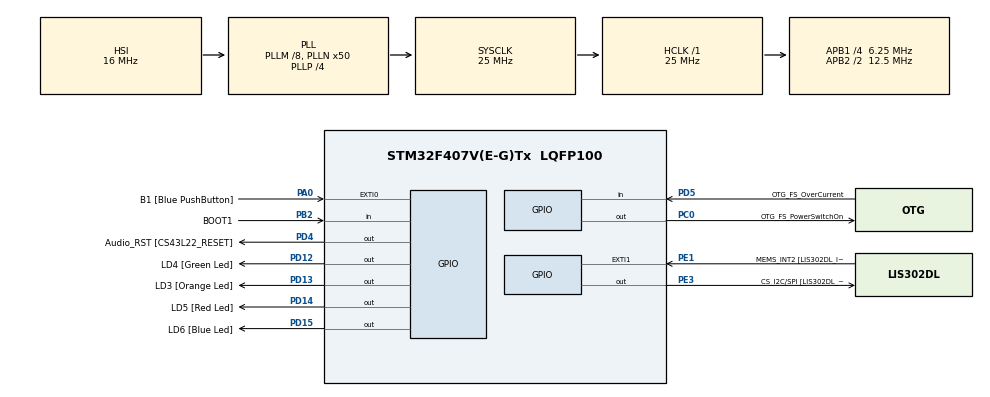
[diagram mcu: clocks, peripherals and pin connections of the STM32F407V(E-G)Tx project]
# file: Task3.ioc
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Mcu.Family=STM32F4
Mcu.Name=STM32F407V(E-G)Tx
Mcu.Package=LQFP100
NVIC.PriorityGroup=NVIC_PRIORITYGROUP_4
NVIC.TIM6_DAC_IRQn=true\:0\:0\:false\:false\:true\:false\:true
NVIC.TimeBase=TIM6_DAC_IRQn
NVIC.TimeBaseIP=TIM6
PA0-WKUP.GPIO_Label=B1 [Blue PushButton]
PA0-WKUP.Signal=GPXTI0
PA10.GPIO_Label=OTG_FS_ID
PA10.GPIO_Mode=GPIO_MODE_AF_PP
PA10.GPIO_PuPd=GPIO_NOPULL
PA10.GPIO_Speed=GPIO_SPEED_FREQ_LOW
PA10.Signal=USB_OTG_FS_ID
PA11.GPIO_Label=OTG_FS_DM
PA11.GPIO_Mode=GPIO_MODE_AF_PP
PA11.GPIO_PuPd=GPIO_NOPULL
PA11.GPIO_Speed=GPIO_SPEED_FREQ_LOW
PA11.Signal=USB_OTG_FS_DM
PA12.GPIO_Label=OTG_FS_DP
PA12.GPIO_Mode=GPIO_MODE_AF_PP
PA12.GPIO_PuPd=GPIO_NOPULL
PA12.GPIO_Speed=GPIO_SPEED_FREQ_LOW
PA12.Signal=USB_OTG_FS_DP
PA13.GPIO_Label=SWDIO
PA13.Signal=SYS_JTMS-SWDIO
PA14.GPIO_Label=SWCLK
PA14.Signal=SYS_JTCK-SWCLK
PA4.GPIO_Label=I2S3_WS [CS43L22_LRCK]
PA4.GPIO_Mode=GPIO_MODE_AF_PP
PA4.GPIO_PuPd=GPIO_NOPULL
PA4.GPIO_Speed=GPIO_SPEED_FREQ_LOW
PA4.Signal=I2S3_WS
PA5.GPIO_Label=SPI1_SCK [LIS302DL_SCL/SPC]
PA5.GPIO_Mode=GPIO_MODE_AF_PP
PA5.GPIO_PuPd=GPIO_NOPULL
PA5.GPIO_Speed=GPIO_SPEED_FREQ_LOW
PA5.Signal=SPI1_SCK
PA6.GPIO_Label=SPI1_MISO [LIS302DL_SDO]
PA6.GPIO_Mode=GPIO_MODE_AF_PP
PA6.GPIO_PuPd=GPIO_NOPULL
PA6.GPIO_Speed=GPIO_SPEED_FREQ_LOW
PA6.Signal=SPI1_MISO
PA7.GPIO_Label=SPI1_MOSI [LIS302DL_SDA/SDI/SDO]
PA7.GPIO_Mode=GPIO_MODE_AF_PP
PA7.GPIO_PuPd=GPIO_NOPULL
PA7.GPIO_Speed=GPIO_SPEED_FREQ_LOW
PA7.Signal=SPI1_MOSI
PA9.GPIO_Label=VBUS_FS
PA9.GPIO_Mode=GPIO_MODE_INPUT
PA9.GPIO_PuPd=GPIO_NOPULL
PA9.Signal=USB_OTG_FS_VBUS
PB10.GPIO_Label=CLK_IN [MP45DT02_CLK]
PB10.GPIO_Mode=GPIO_MODE_AF_PP
PB10.GPIO_PuPd=GPIO_NOPULL
PB10.GPIO_Speed=GPIO_SPEED_FREQ_LOW
PB10.Signal=I2S2_CK
PB2.GPIO_Label=BOOT1
PB2.GPIO_Mode=GPIO_MODE_INPUT
PB2.GPIO_PuPd=GPIO_NOPULL
PB2.Signal=GPIO_Input
PB3.GPIO_Label=SWO
PB3.Signal=SYS_JTDO-SWO
PB6.GPIO_Label=Audio_SCL [CS43L22_SCL]
PB6.GPIO_Mode=GPIO_MODE_AF_OD
PB6.GPIO_PuPd=GPIO_NOPULL
PB6.GPIO_Speed=GPIO_SPEED_FREQ_LOW
PB6.Signal=I2C1_SCL
PB9.GPIO_Label=Audio_SDA [CS43L22_SDA]
PB9.GPIO_Mode=GPIO_MODE_AF_OD
PB9.GPIO_PuPd=GPIO_NOPULL
PB9.GPIO_Speed=GPIO_SPEED_FREQ_LOW
PB9.Signal=I2C1_SDA
PC0.GPIO_Label=OTG_FS_PowerSwitchOn
PC0.GPIO_PuPd=GPIO_NOPULL
PC0.GPIO_Speed=GPIO_SPEED_FREQ_LOW
PC0.PinState=GPIO_PIN_SET
PC0.Signal=GPIO_Output
PC10.GPIO_Label=I2S3_SCK [CS43L22_SCLK]
PC10.GPIO_Mode=GPIO_MODE_AF_PP
PC10.GPIO_PuPd=GPIO_NOPULL
PC10.GPIO_Speed=GPIO_SPEED_FREQ_LOW
PC10.Signal=I2S3_CK
PC12.GPIO_Label=I2S3_SD [CS43L22_SDIN]
PC12.GPIO_Mode=GPIO_MODE_AF_PP
PC12.GPIO_PuPd=GPIO_NOPULL
PC12.GPIO_Speed=GPIO_SPEED_FREQ_LOW
PC12.Signal=I2S3_SD
PC14-OSC32_IN.GPIO_Label=PC14-OSC32_IN
PC14-OSC32_IN.Signal=RCC_OSC32_IN
PC15-OSC32_OUT.GPIO_Label=PC15-OSC32_OUT
PC15-OSC32_OUT.Signal=RCC_OSC32_OUT
PC3.GPIO_Label=PDM_OUT [MP45DT02_DOUT]
PC3.GPIO_Mode=GPIO_MODE_AF_PP
PC3.GPIO_PuPd=GPIO_NOPULL
PC3.GPIO_Speed=GPIO_SPEED_FREQ_LOW
PC3.Signal=I2S2_SD
PC7.GPIO_Label=I2S3_MCK [CS43L22_MCLK]
PC7.GPIO_Mode=GPIO_MODE_AF_PP
PC7.GPIO_PuPd=GPIO_NOPULL
PC7.GPIO_Speed=GPIO_SPEED_FREQ_LOW
PC7.Signal=I2S3_MCK
PD12.GPIO_Label=LD4 [Green Led]
PD12.GPIO_PuPd=GPIO_NOPULL
PD12.GPIO_Speed=GPIO_SPEED_FREQ_LOW
PD12.Signal=GPIO_Output
PD13.GPIO_Label=LD3 [Orange Led]
PD13.GPIO_PuPd=GPIO_NOPULL
PD13.GPIO_Speed=GPIO_SPEED_FREQ_LOW
PD13.Signal=GPIO_Output
PD14.GPIO_Label=LD5 [Red Led]
PD14.GPIO_PuPd=GPIO_NOPULL
PD14.GPIO_Speed=GPIO_SPEED_FREQ_LOW
PD14.Signal=GPIO_Output
PD15.GPIO_Label=LD6 [Blue Led]
PD15.GPIO_PuPd=GPIO_NOPULL
PD15.GPIO_Speed=GPIO_SPEED_FREQ_LOW
PD15.Signal=GPIO_Output
PD4.GPIO_Label=Audio_RST [CS43L22_RESET]
PD4.GPIO_PuPd=GPIO_NOPULL
PD4.GPIO_Speed=GPIO_SPEED_FREQ_LOW
PD4.Signal=GPIO_Output
PD5.GPIO_Label=OTG_FS_OverCurrent
PD5.GPIO_Mode=GPIO_MODE_INPUT
PD5.GPIO_PuPd=GPIO_NOPULL
PD5.Signal=GPIO_Input
PE1.GPIO_Label=MEMS_INT2 [LIS302DL_INT2]
PE1.GPIO_ModeDefaultEXTI=GPIO_MODE_EVT_RISING
PE1.GPIO_PuPd=GPIO_NOPULL
PE1.Signal=GPXTI1
PE3.GPIO_Label=CS_I2C/SPI [LIS302DL_CS_I2C/SPI]
PE3.GPIO_PuPd=GPIO_NOPULL
PE3.GPIO_Speed=GPIO_SPEED_FREQ_LOW
PE3.Signal=GPIO_Output
PH0-OSC_IN.GPIO_Label=PH0-OSC_IN
PH0-OSC_IN.Signal=RCC_OSC_IN
PH1-OSC_OUT.GPIO_Label=PH1-OSC_OUT
PH1-OSC_OUT.Signal=RCC_OSC_OUT
ProjectManager.HeapSize=0x200
ProjectManager.StackSize=0x400
ProjectManager.TargetToolchain=STM32CubeIDE
RCC.48MHZClocksFreq_Value=14285714.285714285
RCC.AHBFreq_Value=25000000
RCC.APB1CLKDivider=RCC_HCLK_DIV4
RCC.APB1Freq_Value=6250000
RCC.APB1TimFreq_Value=12500000
RCC.APB2CLKDivider=RCC_HCLK_DIV2
RCC.APB2Freq_Value=12500000
RCC.APB2TimFreq_Value=25000000
RCC.CortexFreq_Value=25000000
RCC.HCLKFreq_Value=25000000
RCC.HSE_VALUE=8000000
RCC.HSI_VALUE=16000000
RCC.LSE_VALUE=32768
RCC.PLLM=8
RCC.PLLN=50
RCC.PLLP=RCC_PLLP_DIV4
RCC.PLLQ=7
RCC.SYSCLKFreq_VALUE=25000000
RCC.SYSCLKSource=RCC_SYSCLKSOURCE_PLLCLK
RCC.VCOOutputFreq_Value=100000000
VP_SYS_VS_tim6.Mode=TIM6
board=STM32F407G-DISC1

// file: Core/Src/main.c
/* USER CODE BEGIN Header */
/**
  ******************************************************************************
  * @file           : main.c
  * @brief          : Main program body
  ******************************************************************************
  * @attention
  *
  * <h2><center>&copy; Copyright (c) 2025 STMicroelectronics.
  * All rights reserved.</center></h2>
  *
  * This software component is licensed by ST under BSD 3-Clause license,
  * the "License"; You may not use this file except in compliance with the
  * License. You may obtain a copy of the License at:
  *                        opensource.org/licenses/BSD-3-Clause
  *
  ******************************************************************************
  */
/* USER CODE END Header */
#include "main.h"

/* USER CODE BEGIN Includes */
#include "FreeRTOS.h"
#include "task.h"
/* USER CODE END Includes */

void SystemClock_Config(void);
static void MX_GPIO_Init(void);
/* USER CODE BEGIN PFP */
static void led_green_handler(void*);
static void led_orange_handler(void*);
static void led_red_handler(void*);
/* USER CODE END PFP */

int main(void)
{
  /* USER CODE BEGIN 1 */
	 BaseType_t status ;
	 TaskHandle_t task1_handle;
	 TaskHandle_t task2_handle;
	 TaskHandle_t task3_handle;
  /* USER CODE END 1 */

  /* MCU Configuration--------------------------------------------------------*/

  /* Reset of all peripherals, Initializes the Flash interface and the Systick. */
  HAL_Init();

  /* USER CODE BEGIN Init */

     /*Create 3 tasks*/

  /* USER CODE END Init */

  /* Configure the system clock */
  SystemClock_Config();

  /* Initialize all configured peripherals */
  MX_GPIO_Init();
  /* USER CODE BEGIN 2 */
  status = xTaskCreate(led_green_handler, "LED_green_task",200,NULL,2, &task1_handle);
        configASSERT(status == pdPASS);

       status = xTaskCreate(led_orange_handler, "LED_orange_task",200,NULL,2, &task2_handle);
       configASSERT(status == pdPASS);
       status = xTaskCreate(led_red_handler, "LED_red_task",200,NULL,2, &task3_handle);
       configASSERT(status == pdPASS);

     /*start the scheduler*/
       vTaskStartScheduler();

  /* USER CODE END 2 */

  /* Infinite loop */
  while (1)
  {

  }
}

void SystemClock_Config(void)
{
  RCC_OscInitTypeDef RCC_OscInitStruct = {0};
  RCC_ClkInitTypeDef RCC_ClkInitStruct = {0};

  /** Configure the main internal regulator output voltage
  */
  __HAL_RCC_PWR_CLK_ENABLE();
  __HAL_PWR_VOLTAGESCALING_CONFIG(PWR_REGULATOR_VOLTAGE_SCALE1);
  /** Initializes the RCC Oscillators according to the specified parameters
  * in the RCC_OscInitTypeDef structure.
  */
  RCC_OscInitStruct.OscillatorType = RCC_OSCILLATORTYPE_HSI;
  RCC_OscInitStruct.HSIState = RCC_HSI_ON;
  RCC_OscInitStruct.HSICalibrationValue = RCC_HSICALIBRATION_DEFAULT;
  RCC_OscInitStruct.PLL.PLLState = RCC_PLL_ON;
  RCC_OscInitStruct.PLL.PLLSource = RCC_PLLSOURCE_HSI;
  RCC_OscInitStruct.PLL.PLLM = 8;
  RCC_OscInitStruct.PLL.PLLN = 50;
  RCC_OscInitStruct.PLL.PLLP = RCC_PLLP_DIV4;
  RCC_OscInitStruct.PLL.PLLQ = 7;
  if (HAL_RCC_OscConfig(&RCC_OscInitStruct) != HAL_OK)
  {
    Error_Handler();
  }
  /** Initializes the CPU, AHB and APB buses clocks
  */
  RCC_ClkInitStruct.ClockType = RCC_CLOCKTYPE_HCLK|RCC_CLOCKTYPE_SYSCLK
                              |RCC_CLOCKTYPE_PCLK1|RCC_CLOCKTYPE_PCLK2;
  RCC_ClkInitStruct.SYSCLKSource = RCC_SYSCLKSOURCE_PLLCLK;
  RCC_ClkInitStruct.AHBCLKDivider = RCC_SYSCLK_DIV1;
  RCC_ClkInitStruct.APB1CLKDivider = RCC_HCLK_DIV4;
  RCC_ClkInitStruct.APB2CLKDivider = RCC_HCLK_DIV2;

  if (HAL_RCC_ClockConfig(&RCC_ClkInitStruct, FLASH_LATENCY_0) != HAL_OK)
  {
    Error_Handler();
  }
}

static void MX_GPIO_Init(void)
{
  GPIO_InitTypeDef GPIO_InitStruct = {0};

  /* GPIO Ports Clock Enable */
  __HAL_RCC_GPIOE_CLK_ENABLE();
  __HAL_RCC_GPIOC_CLK_ENABLE();
  __HAL_RCC_GPIOH_CLK_ENABLE();
  __HAL_RCC_GPIOA_CLK_ENABLE();
  __HAL_RCC_GPIOB_CLK_ENABLE();
  __HAL_RCC_GPIOD_CLK_ENABLE();

  /*Configure GPIO pin Output Level */
  HAL_GPIO_WritePin(CS_I2C_SPI_GPIO_Port, CS_I2C_SPI_Pin, GPIO_PIN_RESET);

  /*Configure GPIO pin Output Level */
  HAL_GPIO_WritePin(OTG_FS_PowerSwitchOn_GPIO_Port, OTG_FS_PowerSwitchOn_Pin, GPIO_PIN_SET);

  /*Configure GPIO pin Output Level */
  HAL_GPIO_WritePin(GPIOD, LD4_Pin|LD3_Pin|LD5_Pin|LD6_Pin
                          |Audio_RST_Pin, GPIO_PIN_RESET);

  /*Configure GPIO pin : CS_I2C_SPI_Pin */
  GPIO_InitStruct.Pin = CS_I2C_SPI_Pin;
  GPIO_InitStruct.Mode = GPIO_MODE_OUTPUT_PP;
  GPIO_InitStruct.Pull = GPIO_NOPULL;
  GPIO_InitStruct.Speed = GPIO_SPEED_FREQ_LOW;
  HAL_GPIO_Init(CS_I2C_SPI_GPIO_Port, &GPIO_InitStruct);

  /*Configure GPIO pin : OTG_FS_PowerSwitchOn_Pin */
  GPIO_InitStruct.Pin = OTG_FS_PowerSwitchOn_Pin;
  GPIO_InitStruct.Mode = GPIO_MODE_OUTPUT_PP;
  GPIO_InitStruct.Pull = GPIO_NOPULL;
  GPIO_InitStruct.Speed = GPIO_SPEED_FREQ_LOW;
  HAL_GPIO_Init(OTG_FS_PowerSwitchOn_GPIO_Port, &GPIO_InitStruct);

  /*Configure GPIO pin : PDM_OUT_Pin */
  GPIO_InitStruct.Pin = PDM_OUT_Pin;
  GPIO_InitStruct.Mode = GPIO_MODE_AF_PP;
  GPIO_InitStruct.Pull = GPIO_NOPULL;
  GPIO_InitStruct.Speed = GPIO_SPEED_FREQ_LOW;
  GPIO_InitStruct.Alternate = GPIO_AF5_SPI2;
  HAL_GPIO_Init(PDM_OUT_GPIO_Port, &GPIO_InitStruct);

  /*Configure GPIO pin : B1_Pin */
  GPIO_InitStruct.Pin = B1_Pin;
  GPIO_InitStruct.Mode = GPIO_MODE_IT_RISING;
  GPIO_InitStruct.Pull = GPIO_NOPULL;
  HAL_GPIO_Init(B1_GPIO_Port, &GPIO_InitStruct);

  /*Configure GPIO pin : I2S3_WS_Pin */
  GPIO_InitStruct.Pin = I2S3_WS_Pin;
  GPIO_InitStruct.Mode = GPIO_MODE_AF_PP;
  GPIO_InitStruct.Pull = GPIO_NOPULL;
  GPIO_InitStruct.Speed = GPIO_SPEED_FREQ_LOW;
  GPIO_InitStruct.Alternate = GPIO_AF6_SPI3;
  HAL_GPIO_Init(I2S3_WS_GPIO_Port, &GPIO_InitStruct);

  /*Configure GPIO pins : SPI1_SCK_Pin SPI1_MISO_Pin SPI1_MOSI_Pin */
  GPIO_InitStruct.Pin = SPI1_SCK_Pin|SPI1_MISO_Pin|SPI1_MOSI_Pin;
  GPIO_InitStruct.Mode = GPIO_MODE_AF_PP;
  GPIO_InitStruct.Pull = GPIO_NOPULL;
  GPIO_InitStruct.Speed = GPIO_SPEED_FREQ_LOW;
  GPIO_InitStruct.Alternate = GPIO_AF5_SPI1;
  HAL_GPIO_Init(GPIOA, &GPIO_InitStruct);

  /*Configure GPIO pin : BOOT1_Pin */
  GPIO_InitStruct.Pin = BOOT1_Pin;
  GPIO_InitStruct.Mode = GPIO_MODE_INPUT;
  GPIO_InitStruct.Pull = GPIO_NOPULL;
  HAL_GPIO_Init(BOOT1_GPIO_Port, &GPIO_InitStruct);

  /*Configure GPIO pin : CLK_IN_Pin */
  GPIO_InitStruct.Pin = CLK_IN_Pin;
  GPIO_InitStruct.Mode = GPIO_MODE_AF_PP;
  GPIO_InitStruct.Pull = GPIO_NOPULL;
  GPIO_InitStruct.Speed = GPIO_SPEED_FREQ_LOW;
  GPIO_InitStruct.Alternate = GPIO_AF5_SPI2;
  HAL_GPIO_Init(CLK_IN_GPIO_Port, &GPIO_InitStruct);

  /*Configure GPIO pins : LD4_Pin LD3_Pin LD5_Pin LD6_Pin
                           Audio_RST_Pin */
  GPIO_InitStruct.Pin = LD4_Pin|LD3_Pin|LD5_Pin|LD6_Pin
                          |Audio_RST_Pin;
  GPIO_InitStruct.Mode = GPIO_MODE_OUTPUT_PP;
  GPIO_InitStruct.Pull = GPIO_NOPULL;
  GPIO_InitStruct.Speed = GPIO_SPEED_FREQ_LOW;
  HAL_GPIO_Init(GPIOD, &GPIO_InitStruct);

  /*Configure GPIO pins : I2S3_MCK_Pin I2S3_SCK_Pin I2S3_SD_Pin */
  GPIO_InitStruct.Pin = I2S3_MCK_Pin|I2S3_SCK_Pin|I2S3_SD_Pin;
  GPIO_InitStruct.Mode = GPIO_MODE_AF_PP;
  GPIO_InitStruct.Pull = GPIO_NOPULL;
  GPIO_InitStruct.Speed = GPIO_SPEED_FREQ_LOW;
  GPIO_InitStruct.Alternate = GPIO_AF6_SPI3;
  HAL_GPIO_Init(GPIOC, &GPIO_InitStruct);

  /*Configure GPIO pin : VBUS_FS_Pin */
  GPIO_InitStruct.Pin = VBUS_FS_Pin;
  GPIO_InitStruct.Mode = GPIO_MODE_INPUT;
  GPIO_InitStruct.Pull = GPIO_NOPULL;
  HAL_GPIO_Init(VBUS_FS_GPIO_Port, &GPIO_InitStruct);

  /*Configure GPIO pins : OTG_FS_ID_Pin OTG_FS_DM_Pin OTG_FS_DP_Pin */
  GPIO_InitStruct.Pin = OTG_FS_ID_Pin|OTG_FS_DM_Pin|OTG_FS_DP_Pin;
  GPIO_InitStruct.Mode = GPIO_MODE_AF_PP;
  GPIO_InitStruct.Pull = GPIO_NOPULL;
  GPIO_InitStruct.Speed = GPIO_SPEED_FREQ_LOW;
  GPIO_InitStruct.Alternate = GPIO_AF10_OTG_FS;
  HAL_GPIO_Init(GPIOA, &GPIO_InitStruct);

  /*Configure GPIO pin : OTG_FS_OverCurrent_Pin */
  GPIO_InitStruct.Pin = OTG_FS_OverCurrent_Pin;
  GPIO_InitStruct.Mode = GPIO_MODE_INPUT;
  GPIO_InitStruct.Pull = GPIO_NOPULL;
  HAL_GPIO_Init(OTG_FS_OverCurrent_GPIO_Port, &GPIO_InitStruct);

  /*Configure GPIO pins : Audio_SCL_Pin Audio_SDA_Pin */
  GPIO_InitStruct.Pin = Audio_SCL_Pin|Audio_SDA_Pin;
  GPIO_InitStruct.Mode = GPIO_MODE_AF_OD;
  GPIO_InitStruct.Pull = GPIO_PULLUP;
  GPIO_InitStruct.Speed = GPIO_SPEED_FREQ_LOW;
  GPIO_InitStruct.Alternate = GPIO_AF4_I2C1;
  HAL_GPIO_Init(GPIOB, &GPIO_InitStruct);

  /*Configure GPIO pin : MEMS_INT2_Pin */
  GPIO_InitStruct.Pin = MEMS_INT2_Pin;
  GPIO_InitStruct.Mode = GPIO_MODE_EVT_RISING;
  GPIO_InitStruct.Pull = GPIO_NOPULL;
  HAL_GPIO_Init(MEMS_INT2_GPIO_Port, &GPIO_InitStruct);

}

/* USER CODE BEGIN 4 */
static void led_green_handler(void* parameters)
{
	 TickType_t xLastWakeTime;

		    // Initialise the xLastWakeTime variable with the current time.
		    xLastWakeTime = xTaskGetTickCount();
		while(1)
		{
		 HAL_GPIO_TogglePin(GPIOD,LED_RED_PIN);
		 vTaskDelayUntil(&xLastWakeTime,pdMS_TO_TICKS(1000));
	}
}
static void led_orange_handler(void* parameters)
{
	 TickType_t xLastWakeTime;

		    // Initialise the xLastWakeTime variable with the current time.
		    xLastWakeTime = xTaskGetTickCount();
	while(1)
	{
	  HAL_GPIO_TogglePin(GPIOD,LED_ORANGE_PIN);
	  vTaskDelayUntil(&xLastWakeTime,pdMS_TO_TICKS(800));
	}
}
static void led_red_handler(void* parameters)
{
	   TickType_t xLastWakeTime;

	    // Initialise the xLastWakeTime variable with the current time.
	    xLastWakeTime = xTaskGetTickCount();
	while(1)
	{
	 HAL_GPIO_TogglePin(GPIOD,LED_RED_PIN);
	 vTaskDelayUntil(&xLastWakeTime,pdMS_TO_TICKS(400));
	}
}
/* USER CODE END 4 */

void HAL_TIM_PeriodElapsedCallback(TIM_HandleTypeDef *htim)
{
  if (htim->Instance == TIM6) {
    HAL_IncTick();
  }
}

void Error_Handler(void)
{
}

/************************ (C) COPYRIGHT STMicroelectronics *****END OF FILE****/
